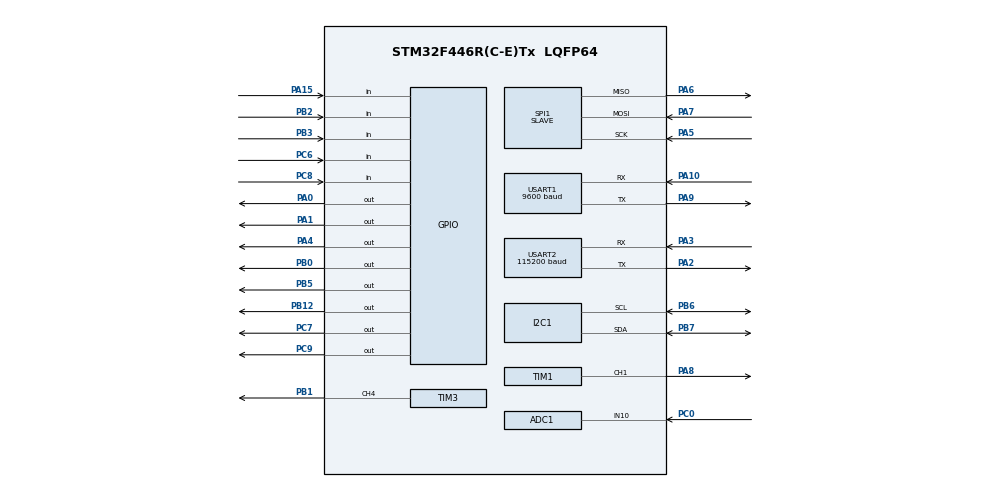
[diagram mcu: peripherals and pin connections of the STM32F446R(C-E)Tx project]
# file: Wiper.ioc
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ADC1.Channel-0\#ChannelRegularConversion=ADC_CHANNEL_10
ADC1.ContinuousConvMode=ENABLE
ADC1.NbrOfConversionFlag=1
ADC1.Rank-0\#ChannelRegularConversion=1
ADC1.SamplingTime-0\#ChannelRegularConversion=ADC_SAMPLETIME_3CYCLES
ADC1.master=1
FREERTOS.Tasks01=defaultTask,24,512,StartDefaultTask,Default,NULL,Dynamic,NULL,NULL
FREERTOS.configUSE_NEWLIB_REENTRANT=1
Mcu.Family=STM32F4
Mcu.Name=STM32F446R(C-E)Tx
Mcu.Package=LQFP64
NVIC.PriorityGroup=NVIC_PRIORITYGROUP_4
NVIC.USART1_IRQn=true\:5\:0\:false\:false\:true\:true\:true\:true\:true
NVIC.USART2_IRQn=true\:5\:0\:false\:false\:true\:true\:true\:true\:true
PA0-WKUP.Signal=GPIO_Output
PA1.Signal=GPIO_Output
PA10.Mode=Asynchronous
PA10.Signal=USART1_RX
PA15.Signal=GPIO_Input
PA2.Mode=Asynchronous
PA2.Signal=USART2_TX
PA3.Mode=Asynchronous
PA3.Signal=USART2_RX
PA4.Signal=GPIO_Output
PA5.Mode=Full_Duplex_Slave
PA5.Signal=SPI1_SCK
PA6.Mode=Full_Duplex_Slave
PA6.Signal=SPI1_MISO
PA7.Mode=Full_Duplex_Slave
PA7.Signal=SPI1_MOSI
PA8.Signal=S_TIM1_CH1
PA9.Mode=Asynchronous
PA9.Signal=USART1_TX
PB0.Signal=GPIO_Output
PB1.Signal=S_TIM3_CH4
PB12.Signal=GPIO_Output
PB2.Signal=GPIO_Input
PB3.Signal=GPIO_Input
PB5.Signal=GPIO_Output
PB6.Mode=I2C
PB6.Signal=I2C1_SCL
PB7.Mode=I2C
PB7.Signal=I2C1_SDA
PC0.Signal=ADCx_IN10
PC6.Signal=GPIO_Input
PC7.Signal=GPIO_Output
PC8.Signal=GPIO_Input
PC9.Signal=GPIO_Output
ProjectManager.HeapSize=0x200
ProjectManager.StackSize=0x400
ProjectManager.TargetToolchain=STM32CubeIDE
RCC.CortexFreq_Value=16000000
RCC.USBFreq_Value=96000000
RCC.VCOOutputFreq_Value=192000000
SH.ADCx_IN10.0=ADC1_IN10,IN10
SH.S_TIM1_CH1.0=TIM1_CH1,PWM Generation1 CH1
SH.S_TIM3_CH4.0=TIM3_CH4,PWM Generation4 CH4
SPI1.Direction=SPI_DIRECTION_2LINES
SPI1.Mode=SPI_MODE_SLAVE
SPI1.VirtualType=VM_SLAVE
TIM1.AutoReloadPreload=TIM_AUTORELOAD_PRELOAD_ENABLE
TIM1.Channel-PWM\ Generation1\ CH1=TIM_CHANNEL_1
TIM1.Period=999
TIM1.Prescaler=83
TIM2.Period=0xFFFFFFFF 
TIM2.Prescaler=15
TIM3.AutoReloadPreload=TIM_AUTORELOAD_PRELOAD_ENABLE
TIM3.Channel-PWM\ Generation4\ CH4=TIM_CHANNEL_4
TIM3.Period=999
TIM3.Prescaler=83
TIM4.Prescaler=83
USART1.BaudRate=9600
USART1.VirtualMode=VM_ASYNC
USART2.BaudRate=115200
USART2.VirtualMode=VM_ASYNC
VP_FREERTOS_VS_CMSIS_V2.Mode=CMSIS_V2
VP_TIM1_VS_ClockSourceINT.Mode=Internal
VP_TIM2_VS_ClockSourceINT.Mode=Internal
VP_TIM4_VS_ClockSourceINT.Mode=Internal
board=custom

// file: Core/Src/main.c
/* USER CODE BEGIN Header */

/* USER CODE END Header */
#include "main.h"
#include "cmsis_os.h"
#include "adc.h"
#include "i2c.h"
#include "spi.h"
#include "tim.h"
#include "usart.h"
#include "gpio.h"

void SystemClock_Config(void);
void MX_FREERTOS_Init(void);

/* USER CODE BEGIN 0 */
uint8_t rx_data;
uint8_t spi1_rx_buf[10];
uint8_t spi1_tx_buf[10];

extern SPI_HandleTypeDef hspi1;
extern TIM_HandleTypeDef htim2;
extern UART_HandleTypeDef huart1;
extern UART_HandleTypeDef huart2;

void SPI1_Start_Receive_IT()
{
	HAL_SPI_Receive_IT(&hspi1, spi1_rx_buf, 1); // 1byte 먼저 수신 대기
}

void Timer_Accuracy_Test() // 타이머 정확도 테스트
{
    HAL_TIM_Base_Start(&htim2);
    for (int i = 0; i < 5; i++)
    {
        uint32_t before = __HAL_TIM_GET_COUNTER(&htim2);
        HAL_Delay(1000);  // 1초 대기
        uint32_t after = __HAL_TIM_GET_COUNTER(&htim2);

        char buf[64];
        sprintf(buf, "Timer count in 1s: %lu us\r\n", (after - before));
        HAL_UART_Transmit(&huart2, (uint8_t*)buf, strlen(buf), HAL_MAX_DELAY);
    }
    HAL_TIM_Base_Stop(&htim2);
}

/* USER CODE END 0 */

int main(void)
{

  /* MCU Configuration--------------------------------------------------------*/

  /* Reset of all peripherals, Initializes the Flash interface and the Systick. */
  HAL_Init();

  /* Configure the system clock */
  SystemClock_Config();

  /* Initialize all configured peripherals */
  MX_GPIO_Init();
  MX_SPI1_Init();
  MX_TIM1_Init();
  MX_USART2_UART_Init();
  MX_TIM2_Init();
  MX_ADC1_Init();
  MX_USART1_UART_Init();
  MX_I2C1_Init();
  MX_TIM3_Init();
  MX_TIM4_Init();
  /* USER CODE BEGIN 2 */

  // 타이머 정확도 테스트 실행
  Timer_Accuracy_Test();

  /* USER CODE END 2 */

  /* Init scheduler */
  osKernelInitialize();

  /* Call init function for freertos objects (in cmsis_os2.c) */
  MX_FREERTOS_Init();

  /* Start scheduler */
  osKernelStart();

  /* We should never get here as control is now taken by the scheduler */

  /* Infinite loop */
  while (1)
  {

  }
}

void SystemClock_Config(void)
{
  RCC_OscInitTypeDef RCC_OscInitStruct = {0};
  RCC_ClkInitTypeDef RCC_ClkInitStruct = {0};

  /** Configure the main internal regulator output voltage
  */
  __HAL_RCC_PWR_CLK_ENABLE();
  __HAL_PWR_VOLTAGESCALING_CONFIG(PWR_REGULATOR_VOLTAGE_SCALE3);

  /** Initializes the RCC Oscillators according to the specified parameters
  * in the RCC_OscInitTypeDef structure.
  */
  RCC_OscInitStruct.OscillatorType = RCC_OSCILLATORTYPE_HSI;
  RCC_OscInitStruct.HSIState = RCC_HSI_ON;
  RCC_OscInitStruct.HSICalibrationValue = RCC_HSICALIBRATION_DEFAULT;
  RCC_OscInitStruct.PLL.PLLState = RCC_PLL_NONE;
  if (HAL_RCC_OscConfig(&RCC_OscInitStruct) != HAL_OK)
  {
    Error_Handler();
  }

  /** Initializes the CPU, AHB and APB buses clocks
  */
  RCC_ClkInitStruct.ClockType = RCC_CLOCKTYPE_HCLK|RCC_CLOCKTYPE_SYSCLK
                              |RCC_CLOCKTYPE_PCLK1|RCC_CLOCKTYPE_PCLK2;
  RCC_ClkInitStruct.SYSCLKSource = RCC_SYSCLKSOURCE_HSI;
  RCC_ClkInitStruct.AHBCLKDivider = RCC_SYSCLK_DIV1;
  RCC_ClkInitStruct.APB1CLKDivider = RCC_HCLK_DIV1;
  RCC_ClkInitStruct.APB2CLKDivider = RCC_HCLK_DIV1;

  if (HAL_RCC_ClockConfig(&RCC_ClkInitStruct, FLASH_LATENCY_0) != HAL_OK)
  {
    Error_Handler();
  }
}

/* USER CODE BEGIN 4 */
void HAL_UART_RxCpltCallback(UART_HandleTypeDef *huart)
{
	if (huart->Instance == USART1)  // 블루투스(UART1) 수신일 때만 콜백 호출
	{
		Bluetooth_RxCallback();  // BLE 명령 처리
	}
	else if (huart->Instance == USART2)
	{
		HAL_UART_Receive_IT(&huart2, &rx_data, 1);  // PC 로그용 UART2 다시 수신 대기
	}
}

/* USER CODE END 4 */

void Error_Handler(void)
{
  __disable_irq();
  while (1)
  {
  }
}

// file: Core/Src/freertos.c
/* USER CODE BEGIN Header */
/*
  ******************************************************************************
  * File Name          : freertos.c
  * Description        : Code for freertos applications
  ******************************************************************************
*/
/* USER CODE END Header */

#include "FreeRTOS.h"
#include "task.h"
#include "main.h"
#include "cmsis_os.h"
#include <string.h>
#include <stdio.h>

/* USER CODE BEGIN Includes */
#include "mpu6050.h"
#include "motor.h"
#include "queue.h"
#include "bluetooth.h"
#include "ultrasonic.h"  // 초음파 헤더 추가
#include "cds.h"
#include "dht.h"

extern TIM_HandleTypeDef htim4;   // TIM4 핸들
extern UART_HandleTypeDef huart2; // UART2 핸들
extern uint8_t current_motor_cmd;
/* USER CODE END Includes */

/* USER CODE BEGIN Variables */
// ---- 기존 센서/모터 관련 태스크 핸들 ----
osThreadId_t mpuTaskHandle;
osThreadId_t cdsTaskHandle;
osMessageQueueId_t uartQueueHandle; // 센서 로그 전용
QueueHandle_t motorQueueHandle;     // 모터 명령 큐

// ---- 초음파 태스크 핸들 ----
osThreadId_t ultrasonicTask1Handle;
osThreadId_t ultrasonicTask2Handle;
osThreadId_t ultrasonicTask3Handle;
/* USER CODE END Variables */

/* Definitions for defaultTask */

// ---- 태스크 속성들 ----
/* USER CODE BEGIN RTOS_THREADS */
/* MPU6050 태스크 속성 */
const osThreadAttr_t mpuTask_attributes = {
  .name = "mpuTask",
  .stack_size = 512 * 4,
  .priority = (osPriority_t) osPriorityNormal,
};

/* CDS 태스크 속성 */
const osThreadAttr_t cdsTask_attributes = {
  .name = "cdsTask",
  .stack_size = 512 * 4,
  .priority = (osPriority_t) osPriorityNormal,
};

/* UARTTask 속성 */
const osThreadAttr_t uartTask_attributes = {
  .name = "uartTask",
  .stack_size = 512 * 4,
  .priority = (osPriority_t) osPriorityLow,
};

/* MotorTask 속성 */
const osThreadAttr_t motorTask_attributes = {
  .name = "motorTask",
  .stack_size = 128 * 4,
  .priority = (osPriority_t) osPriorityNormal,
};

/* 초음파 태스크 속성들 */
const osThreadAttr_t ultrasonicTask1_attributes = {
  .name = "ultrasonicTask1",
  .stack_size = 128 * 4,
  .priority = (osPriority_t) osPriorityNormal,
};

const osThreadAttr_t ultrasonicTask2_attributes = {
  .name = "ultrasonicTask2",
  .stack_size = 128 * 4,
  .priority = (osPriority_t) osPriorityNormal,
};

const osThreadAttr_t ultrasonicTask3_attributes = {
  .name = "ultrasonicTask3",
  .stack_size = 128 * 4,
  .priority = (osPriority_t) osPriorityNormal,
};
/* USER CODE END RTOS_THREADS */

void StartDefaultTask(void *argument);
void MX_FREERTOS_Init(void);

/* USER CODE BEGIN FunctionPrototypes */
void StartMPUTask(void *argument);
void StartCDSTask(void *argument);
void StartUARTTask(void *argument);
void StartMotorTask(void *argument);

// 센서 로그 콜백 함수
void SensorLogPrinter(const char* msg)
{
    char buf[128];
    snprintf(buf, sizeof(buf), "[SENSOR LOG] %s\r\n", msg);
    HAL_UART_Transmit(&huart2, (uint8_t*)buf, strlen(buf), HAL_MAX_DELAY);
}
/* USER CODE END FunctionPrototypes */

/* Function implementing the defaultTask thread. */

/**
  * @brief  FreeRTOS Initialization
  * @retval None
  */
void MX_FREERTOS_Init(void)
{
  /* USER CODE BEGIN init */

  // ---- MPU6050 초기화 ----
  if (MPU6050_Init())
    HAL_UART_Transmit(&huart2, (uint8_t*)"MPU6050 Init OK\r\n", 18, HAL_MAX_DELAY);
  else
    HAL_UART_Transmit(&huart2, (uint8_t*)"MPU6050 Init FAIL\r\n", 20, HAL_MAX_DELAY);

  // ---- BLE UART 초기화 ----
  Bluetooth_Init();

  // ---- 메시지 큐(센서 로그) 생성 ----
  uartQueueHandle = osMessageQueueNew(8, sizeof(SensorMessage_t), NULL);

  // ---- 모터 큐 생성 ----
  motorQueueHandle = xQueueCreate(8, sizeof(uint8_t));

  // ---- 타이머 4 베이스 스타트 (초음파 측정용) ----
  // 모터 쪽에서는 TIM1/TIM4 등 PWM으로만 쓰고 있다면, 초음파 전용으로 TIM4를 이 형태(프리런)로 사용한다고 가정
  HAL_TIM_Base_Start(&htim4);

  // ---- 태스크 생성들 ----
  // MPU 태스크
  mpuTaskHandle = osThreadNew(StartMPUTask, NULL, &mpuTask_attributes);

  // CDS 태스크
  cdsTaskHandle = osThreadNew(StartCDSTask, NULL, &cdsTask_attributes);

  // 센서 로그(UART) 출력 태스크
  osThreadNew(StartUARTTask, NULL, &uartTask_attributes);

  // 모터 제어 태스크
  osThreadNew(StartMotorTask, NULL, &motorTask_attributes);

  // ---- 초음파 태스크 3개 생성 ----
  ultrasonicTask1Handle = osThreadNew(UltrasonicTask1, NULL, &ultrasonicTask1_attributes);
  ultrasonicTask2Handle = osThreadNew(UltrasonicTask2, NULL, &ultrasonicTask2_attributes);
  ultrasonicTask3Handle = osThreadNew(UltrasonicTask3, NULL, &ultrasonicTask3_attributes);
  /* USER CODE END init */
}

/* USER CODE BEGIN Header_StartMPUTask */
/**
  * @brief  Function implementing the MPU 태스크
  * @param  argument: Not used
  * @retval None
  */
/* USER CODE END Header_StartMPUTask */
void StartMPUTask(void *argument)
{
  /* Infinite loop */
  for(;;)
  {
    MPU6050_Read_Accel();
    MPU6050_Read_Gyro();

    float pitch = MPU6050_CalcPitch();
    float roll  = MPU6050_CalcRoll();
    float yaw   = MPU6050_CalcYaw(0.02f);

    int16_t ax = MPU6050_GetAccelX();
    int16_t ay = MPU6050_GetAccelY();
    int16_t az = MPU6050_GetAccelZ();
    int16_t gx = MPU6050_GetGyroX();
    int16_t gy = MPU6050_GetGyroY();
    int16_t gz = MPU6050_GetGyroZ();

    SensorMessage_t msg_out;
    snprintf(msg_out.message, sizeof(msg_out.message),
             "[MPU6050]\r\n"
             " Accel: X=%d Y=%d Z=%d\r\n"
             " Gyro:  X=%d Y=%d Z=%d\r\n"
             " Pitch=%.2f Roll=%.2f Yaw=%.2f\r\n",
             ax, ay, az, gx, gy, gz, pitch, roll, yaw);

    osMessageQueuePut(uartQueueHandle, &msg_out, 0, 0);

    osDelay(2000);
  }
}

/* USER CODE BEGIN Header_StartCDSTask */
/**
  * @brief  Function implementing the CDS 태스크
  * @param  argument: Not used
  * @retval None
  */
/* USER CODE END Header_StartCDSTask */
void StartCDSTask(void *argument)
{
  /* Infinite loop */
  for(;;)
  {
    SensorMessage_t msg_out;
    uint16_t light = ReadCDS();
    snprintf(msg_out.message, sizeof(msg_out.message),
             "[CDS] Light Intensity: %d\r\n", light);

    osMessageQueuePut(uartQueueHandle, &msg_out, 0, 0);
    osDelay(2000);
  }
}

/* USER CODE BEGIN Header_StartUARTTask */
/**
  * @brief  Function implementing the 센서 로그 처리 태스크
  * @param  argument: Not used
  * @retval None
  */
/* USER CODE END Header_StartUARTTask */
void StartUARTTask(void *argument)
{
  SensorMessage_t recv_msg;
  for(;;)
  {
    if (osMessageQueueGet(uartQueueHandle, &recv_msg, NULL, osWaitForever) == osOK)
    {
      HAL_UART_Transmit(&huart2, (uint8_t*)recv_msg.message,
                        strlen(recv_msg.message), HAL_MAX_DELAY);
    }
  }
}

/* USER CODE BEGIN Header_StartMotorTask */
/**
  * @brief  모터 제어 태스크 (BLE 명령 수신 후 큐로 전달)
  * @param  argument: Not used
  * @retval None
  */
/* USER CODE END Header_StartMotorTask */

uint8_t current_motor_cmd = 'S'; // 초기 정지 상태
void StartMotorTask(void *argument)
{
  Motor_Init();
  uint8_t cmd;
  for(;;)
  {
    if (xQueueReceive(motorQueueHandle, &cmd, portMAX_DELAY) == pdTRUE)
    {
      current_motor_cmd = cmd;
      uint16_t speed = Bluetooth_GetSpeed();
      switch (current_motor_cmd)
      {
        case 'F': Motor_Forward(speed); break;
        case 'B': Motor_Backward(speed); break;
        case 'L': Motor_Left(speed); break;
        case 'R': Motor_Right(speed); break;
        case 'S': Motor_Stop(); break;
        default: break;
      }
    }
  }
}
/* USER CODE BEGIN 1 */
// 초음파 센서 테스크
void UltrasonicTask1(void *argument)
{
    char msg[64];
    for (;;) {
        uint32_t d = read_ultrasonic_distance_cm(GPIOC, GPIO_PIN_7, GPIOC, GPIO_PIN_6);
        snprintf(msg, sizeof(msg), "Sensor1: %lu cm\r\n", d);
        HAL_UART_Transmit(&huart2, (uint8_t*)msg, strlen(msg), HAL_MAX_DELAY);
        osDelay(1000);
    }
}

void UltrasonicTask2(void *argument)
{
    char msg[64];
    for (;;) {
        uint32_t d = read_ultrasonic_distance_cm(GPIOB, GPIO_PIN_0, GPIOC, GPIO_PIN_8);
        snprintf(msg, sizeof(msg), "Sensor2: %lu cm\r\n", d);
        HAL_UART_Transmit(&huart2, (uint8_t*)msg, strlen(msg), HAL_MAX_DELAY);
        osDelay(1000);
    }
}

void UltrasonicTask3(void *argument)
{
    char msg[64];
    for (;;) {
        uint32_t d = read_ultrasonic_distance_cm(GPIOC, GPIO_PIN_9, GPIOB, GPIO_PIN_2);
        snprintf(msg, sizeof(msg), "Sensor3: %lu cm\r\n", d);
        HAL_UART_Transmit(&huart2, (uint8_t*)msg, strlen(msg), HAL_MAX_DELAY);
        osDelay(1000);
    }
}

/* USER CODE END 1 */
